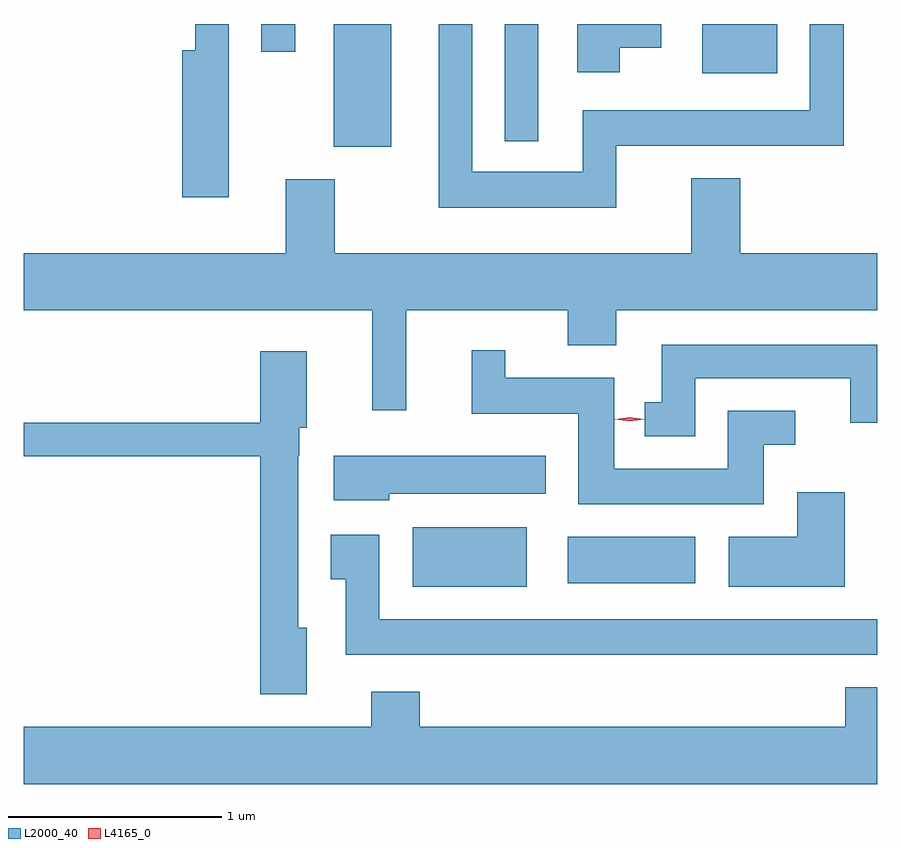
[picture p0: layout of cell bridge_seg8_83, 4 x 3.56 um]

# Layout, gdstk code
import gdstk
lib = gdstk.Library(unit=1e-6, precision=1e-09)
def R(c, l, rs):  # rectangles x0, y0, x1, y1
    for r in rs: c.add(gdstk.rectangle(r[:2], r[2:], *l))
def P(c, l, *ps):  # polygons
    for p in ps: c.add(gdstk.Polygon(p, *l))
L2000_40 = (2000, 40)
L4165_0 = (4165, 0)

bridge_seg8_83 = lib.new_cell('bridge_seg8_83')
R(bridge_seg8_83, L2000_40, [(1624.226,1810.701,1624.759,1810.979), (1624.951,1810.716,1625.549,1810.934), (1623.856,1812.761,1624.124,1813.337), (1624.656,1812.788,1624.814,1813.337), (1625.581,1813.106,1625.934,1813.337), (1623.516,1813.208,1623.674,1813.337)])
P(bridge_seg8_83, L2000_40, [(1623.364,1813.337),(1623.206,1813.337),(1623.206,1813.214),(1623.146,1813.214),(1623.146,1812.526),(1623.364,1812.526)],
  [(1625.194,1813.226),(1625.389,1813.226),(1625.389,1813.337),(1624.996,1813.337),(1624.996,1813.111),(1625.194,1813.111)],
  [(1625.179,1812.766),(1626.244,1812.766),(1626.244,1813.337),(1626.086,1813.337),(1626.086,1812.934),(1625.021,1812.934),(1625.021,1812.644),(1624.504,1812.644),(1624.504,1813.337),(1624.346,1813.337),(1624.346,1812.476),(1625.179,1812.476)],
  [(1624.194,1811.996),(1624.951,1811.996),(1624.951,1811.831),(1625.179,1811.831),(1625.179,1811.996),(1626.402,1811.996),(1626.402,1812.264),(1625.759,1812.264),(1625.759,1812.614),(1625.531,1812.614),(1625.531,1812.264),(1623.859,1812.264),(1623.859,1812.609),(1623.631,1812.609),(1623.631,1812.264),(1622.402,1812.264),(1622.402,1811.996),(1624.036,1811.996),(1624.036,1811.528),(1624.194,1811.528)],
  [(1625.549,1811.676),(1626.276,1811.676),(1626.276,1811.468),(1626.402,1811.468),(1626.402,1811.834),(1625.391,1811.834),(1625.391,1811.564),(1625.313,1811.564),(1625.313,1811.406),(1625.549,1811.406)],
  [(1625.869,1811.366),(1626.018,1811.366),(1626.018,1811.524),(1625.701,1811.524),(1625.701,1811.254),(1625.169,1811.254),(1625.169,1811.679),(1624.659,1811.679),(1624.659,1811.808),(1624.501,1811.808),(1624.501,1811.511),(1625.001,1811.511),(1625.001,1811.086),(1625.869,1811.086)],
  [(1623.729,1810.509),(1623.689,1810.509),(1623.689,1811.315),(1623.694,1811.315),(1623.694,1811.446),(1623.729,1811.446),(1623.729,1811.804),(1623.511,1811.804),(1623.511,1811.469),(1622.402,1811.469),(1622.402,1811.311),(1623.511,1811.311),(1623.511,1810.196),(1623.729,1810.196)],
  [(1624.114,1811.136),(1624.849,1811.136),(1624.849,1811.314),(1623.856,1811.314),(1623.856,1811.106),(1624.114,1811.106)],
  [(1626.249,1811.144),(1626.026,1811.144),(1626.026,1810.934),(1625.706,1810.934),(1625.706,1810.701),(1626.249,1810.701)],
  [(1626.402,1810.549),(1624.069,1810.549),(1624.069,1810.944),(1623.841,1810.944),(1623.841,1810.736),(1623.911,1810.736),(1623.911,1810.381),(1626.402,1810.381)],
  [(1626.402,1810.229),(1626.251,1810.229),(1626.251,1810.044),(1624.259,1810.044),(1624.259,1810.209),(1624.031,1810.209),(1624.031,1810.044),(1622.402,1810.044),(1622.402,1809.776),(1626.402,1809.776)])
P(bridge_seg8_83, L4165_0, [(1625.242,1811.475),(1625.172,1811.484),(1625.172,1811.484),(1625.172,1811.485),(1625.242,1811.494),(1625.311,1811.485),(1625.311,1811.485),(1625.311,1811.484)])

lib.write_gds('bridge_seg8_83.gds')
